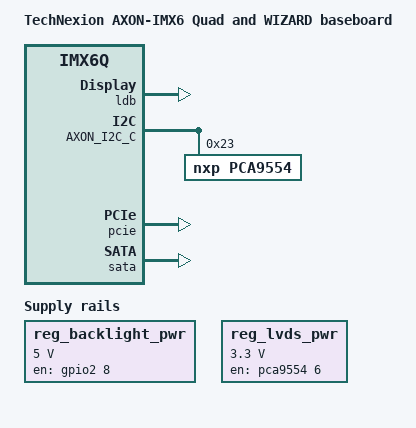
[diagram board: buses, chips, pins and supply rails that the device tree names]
/*
 * Copyright 2019 Technexion Ltd.
 *
 * Author: Tapani Utriainen <tapani@technexion.com>
 *         Richard Hu <richard.hu@technexion.com>
 *         John Weber <john.weber@technexion.com>
 *
 * This program is free software; you can redistribute it and/or modify
 * it under the terms of the GNU General Public License version 2 as
 * published by the Free Software Foundation.
 *
 */
 /dts-v1/;

#include "imx6q.dtsi"
#include "imx6qdl-axon.dtsi"
#include "imx6qdl-axon-wizard.dtsi"

/ {

	model = "TechNexion AXON-IMX6 Quad and WIZARD baseboard";
	compatible = "fsl,axon-imx6q", "fsl,imx6q";

	regulators {
                compatible = "simple-bus";
                #address-cells = <1>;
                #size-cells = <0>;

                reg_backlight_pwr: regulator_blpwr {
                        pinctrl-names = "default";
                        pinctrl-0 = <&pinctrl_backlight_pwr>;
                        compatible = "regulator-fixed";
                        regulator-name = "backlight_pwr";
                        regulator-min-microvolt = <5000000>;
                        regulator-max-microvolt = <5000000>;
                        gpio = <&gpio2 8 GPIO_ACTIVE_HIGH>;
                        enable-active-high;
                };

                reg_lvds_pwr: regulator_lvdspwr {
                        pinctrl-names = "default";
                        compatible = "regulator-fixed";
                        regulator-name = "lvds_pwr_en";
                        regulator-min-microvolt = <3300000>;
                        regulator-max-microvolt = <3300000>;
                        gpio = <&pca9554 6 GPIO_ACTIVE_HIGH>;
                        enable-active-high;
			regulator-always-on;
                };
	};

	backlight_lvds {
                power-supply = <&reg_backlight_pwr>;
		status = "okay";
	};
};

&iomuxc {
        pinctrl-names = "default";

        imx6qdl-axon {

                pinctrl_backlight_pwr: backlight_pwrgrp {
                        fsl,pins = <
                                MX6QDL_PAD_SD4_DAT0__GPIO2_IO08		0x000b0
                        >;
                };
	};
};

&ldb {
	status = "okay";
	split-mode;
        lvds-channel@0 {
                fsl,data-mapping = "spwg";
                fsl,data-width = <24>;
                primary;
		crtc = "ipu1-di0";
                status = "okay";

                display-timings {
                        native-mode = <&timing0>;
                        timing0: g215hvn01 {
                                clock-frequency = <144000000>;
                                hactive = <1920>;
                                vactive = <1080>;
                                hfront-porch = <20>;
                                hsync-len = <10>;
                                hback-porch = <20>;
                                vfront-porch = <40>;
                                vsync-len = <10>;
                                vback-porch = <40>;
                        };

                };
        };

        lvds-channel@1 {
                fsl,data-mapping = "spwg";
                fsl,data-width = <24>;
                primary;
		crtc = "ipu1-di1";
                status = "okay";

                display-timings {
                        native-mode = <&timing1>;
                        timing1: g215hvn01 {
                                clock-frequency = <144000000>;
                                hactive = <1920>;
                                vactive = <1080>;
                                hfront-porch = <20>;
                                hsync-len = <10>;
                                hback-porch = <20>;
                                vfront-porch = <40>;
                                vsync-len = <10>;
                                vback-porch = <40>;
                        };

                };
        };
};

&AXON_I2C_C {
        pca9554: pca9554@23 {
                compatible = "nxp,pca9554";
                pinctrl-names = "default";
                reg =<0x23>;
                gpio-controller;
                #gpio-cells = <2>;
        };
};

&pcie {
	status= "okay";
};

&sata {
	status = "okay";
};
